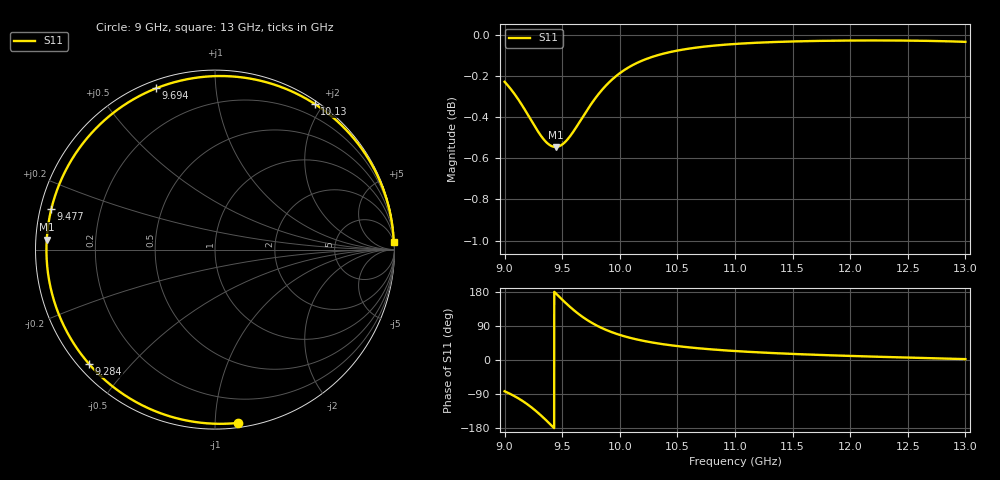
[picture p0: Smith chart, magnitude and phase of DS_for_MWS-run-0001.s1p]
! TOUCHSTONE file generated by CST DESIGN STUDIO
! Date and time: Tue Feb  4 15:49:44 2025
! Project name: C:\Work\MatlabApps\UnitCellOptimizationMatlab\CST\unitcell.cst
! Tree item: Tasks\Sweep1\SPara1\S-Parameters
! Header version: 2024
! Port assignment regex: !\s*Touchstone port\s*([0-9]+)\s*=\s*(CST MWS port|CST DES external port|CST DES block port)\s*(.+)\s* \(\"(.*)\"\)(\s*mode\s*([0-9]+))?.*
! Touchstone port assignment:
! Touchstone port 1 = CST DES external port 1 ("")
# GHz S MA R 50
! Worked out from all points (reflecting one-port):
!   4001 points, 9 GHz to 13 GHz, reference 50 ohm
!   lowest |S11| = -0.5 dB at 9.442 GHz (marker M1), VSWR 31.87, Z = 1.57 + j1.49 ohm
!   phase of S11 starts at -83 deg and turns -275 deg over the sweep
!   S11 on the Smith chart (normalised r, x): 9 GHz: 0.03, -1.14; 9.284 GHz: 0.03, -0.39; 9.477 GHz: 0.03, +0.12; 9.694 GHz: 0.03, +0.70; 10.13 GHz: 0.04, +1.90; 13 GHz: 5, +49
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9  0.974 -82.6
9.087  0.9673 -95.6
9.158  0.9607 -108.6
9.223  0.9541 -122.6
9.284  0.9479 -137.7
9.329  0.9439 -150.0
9.368  0.9413 -161.2
9.405  0.9397 -172.2
9.442  0.9391 176.6
9.477  0.9396 166.1
9.5  0.9404 159.3
9.55  0.9434 145.0
9.597  0.9473 132.5
9.644  0.9517 121.0
9.694  0.9566 110.1
9.753  0.9621 98.8
9.819  0.9676 88.0
9.907  0.9737 76.1
10  0.9787 66.2
10.128  0.9837 55.6
10.295  0.988 45.5
10.5  0.9912 36.7
10.723  0.9933 29.8
11  0.9949 23.7
11.5  0.9963 16.0
12  0.9968 10.7
12.5  0.9968 6.4
13  0.9961 2.3
